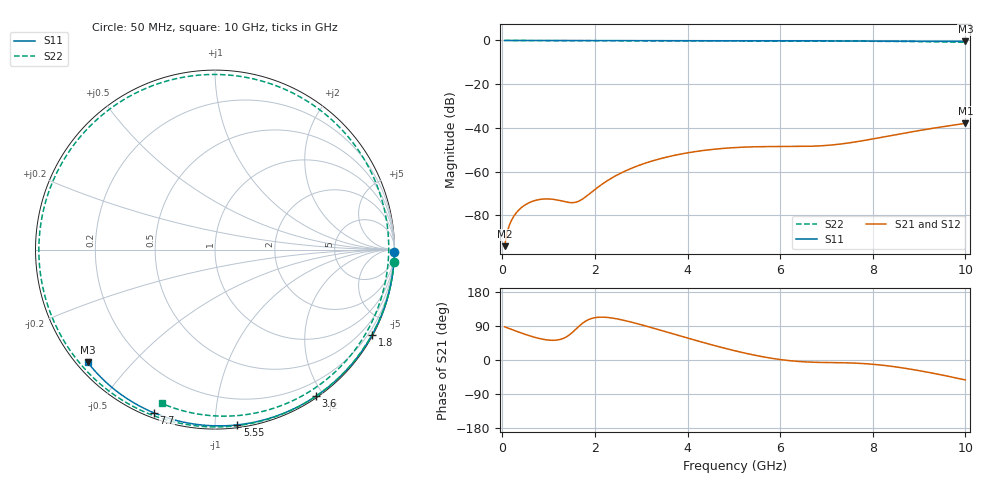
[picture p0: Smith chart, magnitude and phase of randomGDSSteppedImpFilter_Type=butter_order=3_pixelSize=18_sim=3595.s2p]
! freq	dB(S11)	phase(S11)	dB(S12)	phase(S12)
!  dB(S21)	phase(S21)	dB(S22)	phase(S22)
!S-par simulation data
#  GHz  S  DB  R 50
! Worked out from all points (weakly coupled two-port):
!   200 points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, 50 MHz to 10 GHz, reference 50 ohm
!   highest |S21| = -37.92 dB at 10 GHz (marker M1); lowest = -94.0 dB at 50 MHz (marker M2)
!   lowest |S11| = -0.5 dB at 10 GHz (marker M3), VSWR 37.01, Z = 1.54 - j18.9 ohm
!   |S11| at or under -10 dB: nowhere
!   |S22| runs from -0.8 to 0.0 dB; largest |S21 - S12| = 0
!   S11 on the Smith chart (normalised r, x): 50 MHz: open; 1.8 GHz: 0.03, -3.95; 3.6 GHz: 0.02, -1.90; 5.55 GHz: 0.02, -1.14; 7.7 GHz: 0.02, -0.69; 10 GHz: 0.03, -0.38
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0.05  -0.00 -0.8  -94.04 87.7  -94.04 87.7  -0.00 -4.0
0.25  -0.01 -4.0  -80.31 78.4  -80.31 78.4  -0.03 -19.8
0.45  -0.01 -7.2  -75.80 69.5  -75.80 69.5  -0.05 -35.3
0.9  -0.02 -14.3  -72.47 54.2  -72.47 54.2  -0.08 -68.8
1.3  -0.03 -20.6  -73.47 56.2  -73.47 56.2  -0.11 -96.2
1.55  -0.03 -24.5  -74.09 76.8  -74.09 76.8  -0.12 -112.2
1.75  -0.04 -27.6  -72.25 98.5  -72.25 98.5  -0.13 -124.3
1.8  -0.04 -28.4  -71.48 102.6  -71.48 102.6  -0.13 -127.3
2.15  -0.04 -33.8  -65.79 113.1  -65.79 113.1  -0.14 -147.2
2.55  -0.05 -39.9  -60.75 106.7  -60.75 106.7  -0.16 -168.5
2.95  -0.06 -45.9  -57.11 94.7  -57.11 94.7  -0.17 171.3
3.4  -0.07 -52.5  -54.12 79.2  -54.12 79.2  -0.18 149.7
3.6  -0.07 -55.5  -53.07 72.1  -53.07 72.1  -0.18 140.3
4.35  -0.09 -66.2  -50.27 45.8  -50.27 45.8  -0.20 106.1
5.05  -0.12 -76.0  -48.94 23.6  -48.94 23.6  -0.22 75.3
5.55  -0.14 -82.8  -48.56 10.3  -48.56 10.3  -0.23 54.0
6.15  -0.16 -90.7  -48.50 -1.0  -48.50 -1.0  -0.25 29.3
6.7  -0.19 -97.8  -48.35 -5.8  -48.35 -5.8  -0.27 7.8
7.7  -0.25 -110.5  -46.13 -8.7  -46.13 -8.7  -0.34 -28.7
8.35  -0.30 -118.5  -43.65 -15.8  -43.65 -15.8  -0.42 -50.9
9.2  -0.38 -128.8  -40.48 -32.5  -40.48 -32.5  -0.58 -79.6
10  -0.47 -138.5  -37.92 -52.7  -37.92 -52.7  -0.85 -109.1
